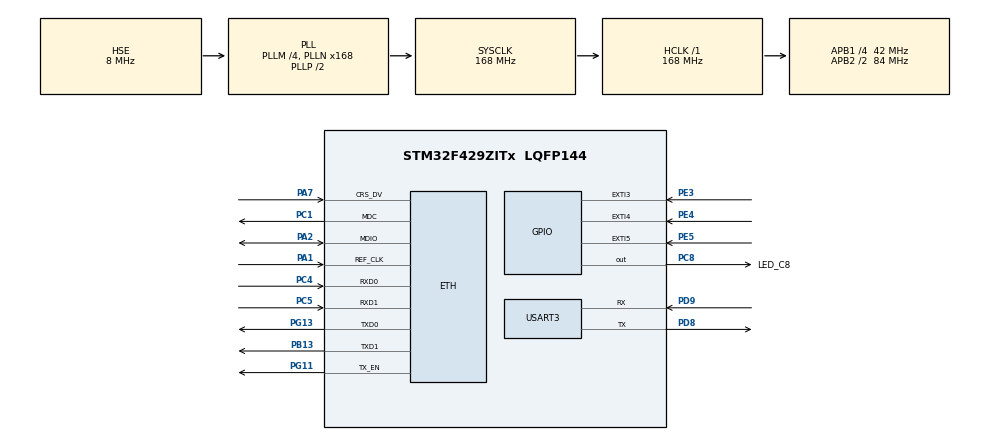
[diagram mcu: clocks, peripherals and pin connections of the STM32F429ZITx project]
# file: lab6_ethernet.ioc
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ETH.MACAddr=00\:80\:E1\:AB\:CD\:EF
ETH.MediaInterface=HAL_ETH_RMII_MODE
ETH.RxMode=ETH_RXINTERRUPT_MODE
FREERTOS.Tasks01=defaultTask,0,128,StartDefaultTask,Default,NULL,Dynamic,NULL,NULL
FREERTOS.configTOTAL_HEAP_SIZE=25360
FREERTOS.configUSE_NEWLIB_REENTRANT=0
FREERTOS.copyHeapFile=1
LWIP.BSP.number=1
LWIP.CMSIS_VERSION-Enabled=1
LWIP.GATEWAY_ADDRESS=000.000.000.000
LWIP.IP_ADDRESS=192.168.006.010
LWIP.LWIP_DHCP=0
LWIP.MEM_SIZE=10*1024
LWIP.NETMASK_ADDRESS=255.255.255.000
LWIP.Version=v2.1.2_Cube
LWIP0.BSP.STBoard=false
LWIP0.BSP.api=BSP_COMPONENT_DRIVER
LWIP0.BSP.component=LAN8742
LWIP0.BSP.instance=LAN8742
LWIP0.BSP.name=Driver_PHY
LWIP0.BSP.semaphore=S_LAN8742
LWIP0.BSP.solution=LAN8742
Mcu.Family=STM32F4
Mcu.Name=STM32F429ZITx
Mcu.Package=LQFP144
NVIC.ETH_IRQn=true\:5\:0\:false\:false\:true\:true\:false\:true\:true
NVIC.EXTI3_IRQn=true\:5\:0\:false\:false\:true\:true\:true\:true\:true
NVIC.EXTI4_IRQn=true\:5\:0\:false\:false\:true\:true\:true\:true\:true
NVIC.EXTI9_5_IRQn=true\:5\:0\:false\:false\:true\:true\:true\:true\:true
NVIC.PriorityGroup=NVIC_PRIORITYGROUP_4
NVIC.TIM1_UP_TIM10_IRQn=true\:15\:0\:false\:false\:true\:false\:false\:true\:true
NVIC.TimeBase=TIM1_UP_TIM10_IRQn
NVIC.TimeBaseIP=TIM1
PA1.Mode=RMII
PA1.Signal=ETH_REF_CLK
PA13.Mode=Serial_Wire
PA13.Signal=SYS_JTMS-SWDIO
PA14.Mode=Serial_Wire
PA14.Signal=SYS_JTCK-SWCLK
PA2.Mode=RMII
PA2.Signal=ETH_MDIO
PA7.Mode=RMII
PA7.Signal=ETH_CRS_DV
PB13.Mode=RMII
PB13.Signal=ETH_TXD1
PC1.Mode=RMII
PC1.Signal=ETH_MDC
PC14/OSC32_IN.Mode=LSE-External-Oscillator
PC14/OSC32_IN.Signal=RCC_OSC32_IN
PC15/OSC32_OUT.Mode=LSE-External-Oscillator
PC15/OSC32_OUT.Signal=RCC_OSC32_OUT
PC4.Mode=RMII
PC4.Signal=ETH_RXD0
PC5.Mode=RMII
PC5.Signal=ETH_RXD1
PC8.GPIO_Label=LED_C8
PC8.Signal=GPIO_Output
PD8.Mode=Asynchronous
PD8.Signal=USART3_TX
PD9.Mode=Asynchronous
PD9.Signal=USART3_RX
PE3.Signal=GPXTI3
PE4.Signal=GPXTI4
PE5.Signal=GPXTI5
PG11.Mode=RMII
PG11.Signal=ETH_TX_EN
PG13.Mode=RMII
PG13.Signal=ETH_TXD0
PH0/OSC_IN.Mode=HSE-External-Oscillator
PH0/OSC_IN.Signal=RCC_OSC_IN
PH1/OSC_OUT.Mode=HSE-External-Oscillator
PH1/OSC_OUT.Signal=RCC_OSC_OUT
ProjectManager.HeapSize=0x200
ProjectManager.StackSize=0x400
ProjectManager.TargetToolchain=MDK-ARM V5.32
RCC.48MHZClocksFreq_Value=48000000
RCC.AHBFreq_Value=168000000
RCC.APB1CLKDivider=RCC_HCLK_DIV4
RCC.APB1Freq_Value=42000000
RCC.APB1TimFreq_Value=84000000
RCC.APB2CLKDivider=RCC_HCLK_DIV2
RCC.APB2Freq_Value=84000000
RCC.APB2TimCLKDivider=2
RCC.APB2TimFreq_Value=168000000
RCC.CortexFreq_Value=168000000
RCC.HCLKFreq_Value=168000000
RCC.HSE_VALUE=8000000
RCC.HSI_VALUE=16000000
RCC.PLLM=4
RCC.PLLMUL=RCC_PLL_MUL9
RCC.PLLN=168
RCC.PLLQ=7
RCC.PLLSourceVirtual=RCC_PLLSOURCE_HSE
RCC.PRESCALERUSB=RCC_USBCLKSOURCE_PLL_DIV1_5
RCC.SYSCLKFreq_VALUE=168000000
RCC.SYSCLKSource=RCC_SYSCLKSOURCE_PLLCLK
RCC.SYSCLKSourceVirtual=RCC_SYSCLKSOURCE_PLLCLK
RCC.USBFreq_Value=48000000
RCC.VCOOutputFreq_Value=336000000
USART3.VirtualMode=VM_ASYNC
VP_FREERTOS_VS_CMSIS_V1.Mode=CMSIS_V1
VP_LWIP_VS_Enabled.Mode=Enabled
VP_SYS_VS_tim1.Mode=TIM1
board=NUCLEO-F429ZI

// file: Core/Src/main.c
/* USER CODE BEGIN Header */
/**
  ******************************************************************************
  * @file           : main.c
  * @brief          : Main program body
  ******************************************************************************
  * @attention
  *
  * Copyright (c) 2024 STMicroelectronics.
  * All rights reserved.
  *
  * This software is licensed under terms that can be found in the LICENSE file
  * in the root directory of this software component.
  * If no LICENSE file comes with this software, it is provided AS-IS.
  *
  ******************************************************************************
  */
/* USER CODE END Header */
#include "main.h"
#include "cmsis_os.h"
#include "lwip.h"
#include "usart.h"
#include "gpio.h"

/* USER CODE BEGIN Includes */

//#include "tcpclient.h"
#include "FreeRTOS.h"
#include "task.h"
#include "semphr.h"
#include "lwip/opt.h"
#include "lwip/api.h"
#include "lwip/sys.h"
#include "string.h"
#include "stdio.h"
/* USER CODE END Includes */

/* USER CODE BEGIN PV */

QueueHandle_t queueButton;

/*********freeRTOS*********/
TaskHandle_t handleETH;
TaskHandle_t handleTCP_Init;
TaskHandle_t handleTCP_Send;
SemaphoreHandle_t xSemTCP;

/*********LWIP*********/
static struct netconn *connTCP;
static struct netbuf *bufTCP;
static ip_addr_t addrDest;
static unsigned short port, portDest;
char msgc[100];
char smsgc[200];
int indx = 0; //send index
/* USER CODE END PV */

void SystemClock_Config(void);
void MX_FREERTOS_Init(void);
/* USER CODE BEGIN PFP */
void sendPackage(char *package);
/* USER CODE END PFP */

/* USER CODE BEGIN 0 */
/****************
!!don't remove!!
****************/
FILE __stdout;

int fputc(int c, FILE *f) {
  return (0);
}

/****************
!!don't remove!!
https://reurl.cc/Wx1YDe`
****************/

void taskTCP_Init(void *pvParm){
	err_t err, connect;
	//create new connection
	connTCP = netconn_new(NETCONN_TCP);

	if(connTCP != NULL){

		/******************
		connTCP -> connection which to bind
		IP_ADDR_ANY -> local ip to bind, if use this variable it means to bind all local ip
		7 -> local port to bind
		******************/
		err = netconn_bind(connTCP, IP_ADDR_ANY, 7);

		if(err == ERR_OK){
			//server ip, port
			IP_ADDR4(&addrDest, 192, 168, 6, 20);
			portDest = 230;

			//connect server
			connect = netconn_connect(connTCP, &addrDest, portDest);
			while (connect != ERR_OK){
				connect = netconn_connect(connTCP, &addrDest, portDest);
				vTaskDelay(50);
			}

				xSemaphoreGive(xSemTCP);
				while(1){
					/*wait for receive the data from server*/
					if(netconn_recv(connTCP, &bufTCP) == ERR_OK){
						/*if rxBuf is not empty, process rxBUF and sent it back*/
						do{
							//take out the data from server sent
							strncpy(msgc, bufTCP->p->payload, bufTCP->p->len);
							//take the data into txBuf
							snprintf(smsgc, sizeof(smsgc), "%s sent from server \n", msgc);

							xSemaphoreTake(xSemTCP, 500);
							sendPackage(smsgc);

							memset(msgc, 0, 100);
						}while(netbuf_next(bufTCP) > 0);//until all data in rxBuf is processed
						netbuf_delete(bufTCP);
					}
				}
		}
		else{
			//bind fail
			netconn_delete(connTCP);
		}
	}
}

void sendPackage(char *package){
	//send package to connection
	netconn_write(connTCP, package, strlen(package), NETCONN_COPY);
	xSemaphoreGive(xSemTCP);
}

void taskTCP_Send(void *pvParm){
	while(1){
		uint8_t button = 0;
		uint8_t update = 0;

		xQueueReceive(queueButton, &button, NULL);
		BaseType_t queueModeReceive = xQueueReceive(queueButton, &button, 10 / portTICK_RATE_MS);

		if(queueModeReceive == pdPASS){
			snprintf(smsgc, sizeof(smsgc), "%d", button);
			xSemaphoreTake(xSemTCP, 500);
			sendPackage(smsgc);
		}
	}
}

void taskETH(void *pvParm){
	/*************
	init LwIP first
	*************/
	MX_LWIP_Init();

	xSemTCP = xSemaphoreCreateBinary();
	xTaskCreate(taskTCP_Init, "TCP init", 1024, NULL, 0, &handleTCP_Init);
	xTaskCreate(taskTCP_Send, "TCP send", 1024, NULL, 0, &handleTCP_Send);

	while(1){
		HAL_GPIO_TogglePin(LED_C8_GPIO_Port, LED_C8_Pin);
		vTaskDelay(100);
	}
}

void HAL_GPIO_EXTI_Callback(uint16_t GPIO_Pin)
{
		uint8_t button = 0;

    switch (GPIO_Pin)
    {
    // sw1 PE3
    case GPIO_PIN_3:
    {
        if (HAL_GPIO_ReadPin(GPIOE, GPIO_PIN_3) == 1)
        {
					button = 0;
					xQueueSendFromISR(queueButton, &button, NULL);
					HAL_GPIO_TogglePin(GPIOB, GPIO_PIN_14);
        }
        break;
    }
    // sw2 PE4
    case GPIO_PIN_4:
    {
        if (HAL_GPIO_ReadPin(GPIOE, GPIO_PIN_4) == 1)
        {
					button = 1;
					xQueueSendFromISR(queueButton, &button, NULL);
        }
        break;
    }
		case GPIO_PIN_5:{
        if (HAL_GPIO_ReadPin(GPIOE, GPIO_PIN_5) == 1)
        {
					button = 2;
					xQueueSendFromISR(queueButton, &button, NULL);
        }
				break;
		}
    default:
        break;
    }
}

/* USER CODE END 0 */

int main(void)
{

  /* MCU Configuration--------------------------------------------------------*/

  /* Reset of all peripherals, Initializes the Flash interface and the Systick. */
  HAL_Init();

  /* Configure the system clock */
  SystemClock_Config();

  /* Initialize all configured peripherals */
  MX_GPIO_Init();
  MX_USART3_UART_Init();
  /* USER CODE BEGIN 2 */
	queueButton = xQueueCreate(3, sizeof(uint8_t));
	xTaskCreate(taskETH, "ETH example", 1024, NULL, 1, &handleETH);
	vTaskStartScheduler();
  /* USER CODE END 2 */

  /* Call init function for freertos objects (in freertos.c) */
  MX_FREERTOS_Init();

  /* Start scheduler */
  osKernelStart();

  /* We should never get here as control is now taken by the scheduler */
  /* Infinite loop */
  while (1)
  {

  }
}

void SystemClock_Config(void)
{
  RCC_OscInitTypeDef RCC_OscInitStruct = {0};
  RCC_ClkInitTypeDef RCC_ClkInitStruct = {0};

  /** Configure the main internal regulator output voltage
  */
  __HAL_RCC_PWR_CLK_ENABLE();
  __HAL_PWR_VOLTAGESCALING_CONFIG(PWR_REGULATOR_VOLTAGE_SCALE1);

  /** Initializes the RCC Oscillators according to the specified parameters
  * in the RCC_OscInitTypeDef structure.
  */
  RCC_OscInitStruct.OscillatorType = RCC_OSCILLATORTYPE_HSE;
  RCC_OscInitStruct.HSEState = RCC_HSE_ON;
  RCC_OscInitStruct.PLL.PLLState = RCC_PLL_ON;
  RCC_OscInitStruct.PLL.PLLSource = RCC_PLLSOURCE_HSE;
  RCC_OscInitStruct.PLL.PLLM = 4;
  RCC_OscInitStruct.PLL.PLLN = 168;
  RCC_OscInitStruct.PLL.PLLP = RCC_PLLP_DIV2;
  RCC_OscInitStruct.PLL.PLLQ = 7;
  if (HAL_RCC_OscConfig(&RCC_OscInitStruct) != HAL_OK)
  {
    Error_Handler();
  }

  /** Initializes the CPU, AHB and APB buses clocks
  */
  RCC_ClkInitStruct.ClockType = RCC_CLOCKTYPE_HCLK|RCC_CLOCKTYPE_SYSCLK
                              |RCC_CLOCKTYPE_PCLK1|RCC_CLOCKTYPE_PCLK2;
  RCC_ClkInitStruct.SYSCLKSource = RCC_SYSCLKSOURCE_PLLCLK;
  RCC_ClkInitStruct.AHBCLKDivider = RCC_SYSCLK_DIV1;
  RCC_ClkInitStruct.APB1CLKDivider = RCC_HCLK_DIV4;
  RCC_ClkInitStruct.APB2CLKDivider = RCC_HCLK_DIV2;

  if (HAL_RCC_ClockConfig(&RCC_ClkInitStruct, FLASH_LATENCY_5) != HAL_OK)
  {
    Error_Handler();
  }
}

void HAL_TIM_PeriodElapsedCallback(TIM_HandleTypeDef *htim)
{
  if (htim->Instance == TIM1) {
    HAL_IncTick();
  }
}

void Error_Handler(void)
{
  __disable_irq();
  while (1)
  {
  }
}

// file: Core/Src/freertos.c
/* USER CODE BEGIN Header */
/**
  ******************************************************************************
  * File Name          : freertos.c
  * Description        : Code for freertos applications
  ******************************************************************************
  * @attention
  *
  * Copyright (c) 2025 STMicroelectronics.
  * All rights reserved.
  *
  * This software is licensed under terms that can be found in the LICENSE file
  * in the root directory of this software component.
  * If no LICENSE file comes with this software, it is provided AS-IS.
  *
  ******************************************************************************
  */
/* USER CODE END Header */

#include "FreeRTOS.h"
#include "task.h"
#include "main.h"
#include "cmsis_os.h"

osThreadId defaultTaskHandle;

void StartDefaultTask(void const * argument);

extern void MX_LWIP_Init(void);
void MX_FREERTOS_Init(void); /* (MISRA C 2004 rule 8.1) */

/* GetIdleTaskMemory prototype (linked to static allocation support) */
void vApplicationGetIdleTaskMemory( StaticTask_t **ppxIdleTaskTCBBuffer, StackType_t **ppxIdleTaskStackBuffer, uint32_t *pulIdleTaskStackSize );

/* USER CODE BEGIN GET_IDLE_TASK_MEMORY */
static StaticTask_t xIdleTaskTCBBuffer;
static StackType_t xIdleStack[configMINIMAL_STACK_SIZE];

void vApplicationGetIdleTaskMemory( StaticTask_t **ppxIdleTaskTCBBuffer, StackType_t **ppxIdleTaskStackBuffer, uint32_t *pulIdleTaskStackSize )
{
  *ppxIdleTaskTCBBuffer = &xIdleTaskTCBBuffer;
  *ppxIdleTaskStackBuffer = &xIdleStack[0];
  *pulIdleTaskStackSize = configMINIMAL_STACK_SIZE;
  /* place for user code */
}
/* USER CODE END GET_IDLE_TASK_MEMORY */

void MX_FREERTOS_Init(void) {

  /* Create the thread(s) */
  /* definition and creation of defaultTask */
  osThreadDef(defaultTask, StartDefaultTask, osPriorityNormal, 0, 128);
  defaultTaskHandle = osThreadCreate(osThread(defaultTask), NULL);

}

void StartDefaultTask(void const * argument)
{
  /* init code for LWIP */
  MX_LWIP_Init();
  for(;;)
  {
    osDelay(1);
  }
}
